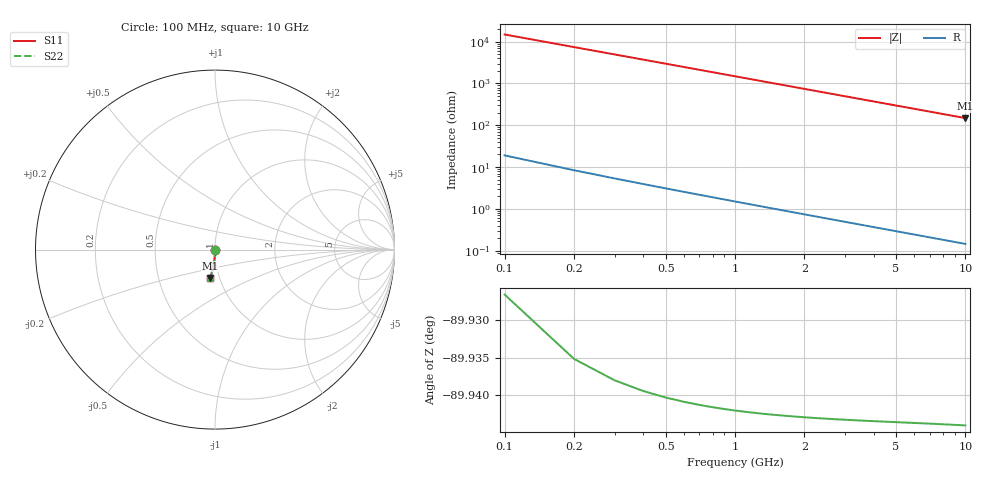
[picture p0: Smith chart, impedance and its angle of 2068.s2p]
# Hz S RI R 50.00
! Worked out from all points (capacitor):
!   100 points, 100 MHz to 10 GHz, reference 50 ohm
!   read as one part in shunt: C = 107 fF near 100 MHz
!   lowest |Z| = 148 ohm at 10 GHz (marker M1)
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1e8  5.82e-05 -0.00163  0.9999 -0.00174  0.9999 -0.00174  5.82e-05 -0.00163
2e8  4.85e-05 -0.00325  0.9999 -0.00348  0.9999 -0.00348  4.85e-05 -0.00325
3e8  3.3e-05 -0.00488  0.9999 -0.00522  0.9999 -0.00522  3.3e-05 -0.00488
4e8  1.18e-05 -0.0065  0.9999 -0.00696  0.9999 -0.00696  1.18e-05 -0.0065
5e8  -1.51e-05 -0.00813  0.9999 -0.00871  0.9999 -0.00871  -1.51e-05 -0.00813
6e8  -4.77e-05 -0.00975  0.9998 -0.0104  0.9998 -0.0104  -4.77e-05 -0.00975
7e8  -8.59e-05 -0.0114  0.9998 -0.0122  0.9998 -0.0122  -8.59e-05 -0.0114
8e8  -0.00013 -0.013  0.9997 -0.0139  0.9997 -0.0139  -0.00013 -0.013
9e8  -0.000179 -0.0146  0.9997 -0.0157  0.9997 -0.0157  -0.000179 -0.0146
1.1e9  -0.000296 -0.0179  0.9996 -0.0191  0.9996 -0.0191  -0.000296 -0.0179
1.4e9  -0.000512 -0.0227  0.9994 -0.0244  0.9994 -0.0244  -0.000512 -0.0227
1.8e9  -0.00088 -0.0292  0.999 -0.0313  0.999 -0.0313  -0.00088 -0.0292
2.1e9  -0.00122 -0.0341  0.9986 -0.0365  0.9986 -0.0365  -0.00122 -0.0341
2.5e9  -0.00174 -0.0406  0.9981 -0.0435  0.9981 -0.0435  -0.00174 -0.0406
2.9e9  -0.00236 -0.047  0.9975 -0.0504  0.9975 -0.0504  -0.00236 -0.047
3.4e9  -0.00325 -0.0551  0.9966 -0.059  0.9966 -0.059  -0.00325 -0.0551
4.2e9  -0.00497 -0.068  0.9949 -0.0728  0.9949 -0.0728  -0.00497 -0.068
5.1e9  -0.00733 -0.0823  0.9925 -0.0882  0.9925 -0.0882  -0.00733 -0.0823
5.9e9  -0.0098 -0.095  0.99 -0.1018  0.99 -0.1018  -0.0098 -0.095
6.7e9  -0.0126 -0.1076  0.9872 -0.1153  0.9872 -0.1153  -0.0126 -0.1076
8.4e9  -0.0197 -0.134  0.9801 -0.1437  0.9801 -0.1437  -0.0197 -0.134
1e10  -0.0277 -0.1582  0.9721 -0.1698  0.9721 -0.1698  -0.0277 -0.1582
